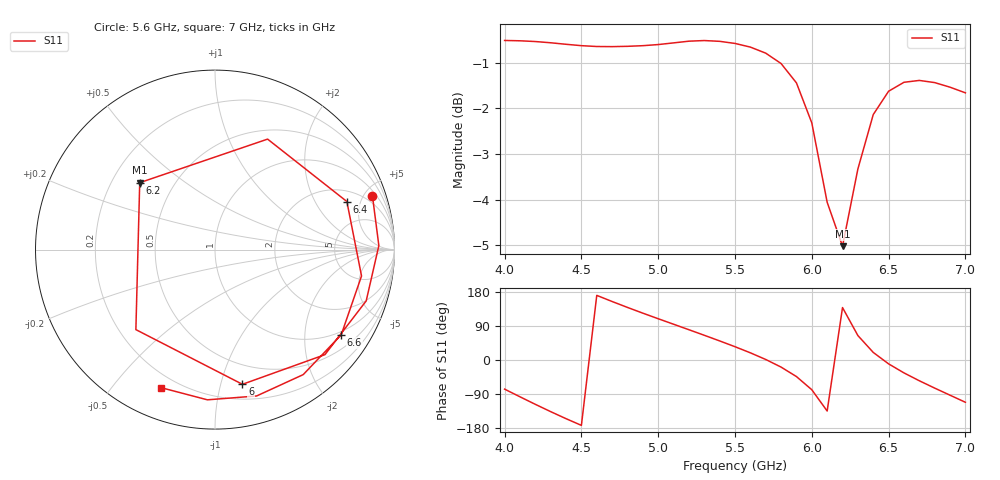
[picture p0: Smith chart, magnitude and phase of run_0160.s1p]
! Touchstone file exported from HFSS 2024.2.0
!  File:  C:/Users/wsak9/Desktop/Sim Fast/Widenad Patch/WP_AI_V1_sweep.aedt
!  Generated:  09:34:47 PM Oct 13, 2026
!  Design:  A1_model
!  Project:  WP_AI_V1_sweep
!  Setup:  Setup1
!  Solution:  Sweep
! Variables:
!  Air_gap = 4.8mm
!  Curve_Amp1 = 1.5
!  Curve_len1 = 1
!  Curve_pos = 9.905mm
!  Extra = 3.75mm
!  H_sub = 0.79mm
!  L_Patch = 15.81mm
!  L_Patch1 = 17.25mm
!  Sx = 4.52mm
!  Sy = 1.22mm
!  WS = 1.03mm
!  W_Patch = 18.42mm
!  W_Patch1 = 13.5mm
!Data is not renormalized
# GHz S MA
! Terminal data exported
! Port[1] = 1
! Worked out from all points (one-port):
!   31 points, 4 GHz to 7 GHz, reference per port
!   lowest |S11| = -5.0 dB at 6.2 GHz (marker M1), VSWR 3.56
!   |S11| at or under -10 dB: nowhere
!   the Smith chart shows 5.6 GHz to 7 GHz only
!   S11 on the Smith chart (normalised r, x): 5.6 GHz: 1.33, +5.69; 6 GHz: 0.32, -1.17; 6.2 GHz: 0.32, +0.35; 6.4 GHz: 2.73, +3.77; 6.6 GHz: 0.89, -3.03; 7 GHz: 0.14, -0.67
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4  0.9429 -76.9
4.1  0.9421 -97.1
4.2  0.9403 -117.0
4.3  0.9374 -136.3
4.4  0.9338 -154.8
4.5  0.9306 -172.5
4.6  0.9286 170.5
4.7  0.9283 154.3
4.8  0.929 138.7
5  0.9332 108.9
5.2  0.9411 79.9
5.3  0.9427 65.2
5.5  0.9358 35.1
5.6  0.9272 18.9
5.7  0.9132 1.4
5.8  0.8896 -18.7
5.9  0.8472 -43.7
6  0.7659 -78.5
6.1  0.6269 -134.7
6.2  0.5612 138.4
6.3  0.6817 64.5
6.4  0.782 20.0
6.5  0.8295 -10.2
6.6  0.8484 -34.0
6.7  0.8524 -54.8
6.8  0.8478 -74.1
6.9  0.838 -92.9
7  0.8262 -111.5
